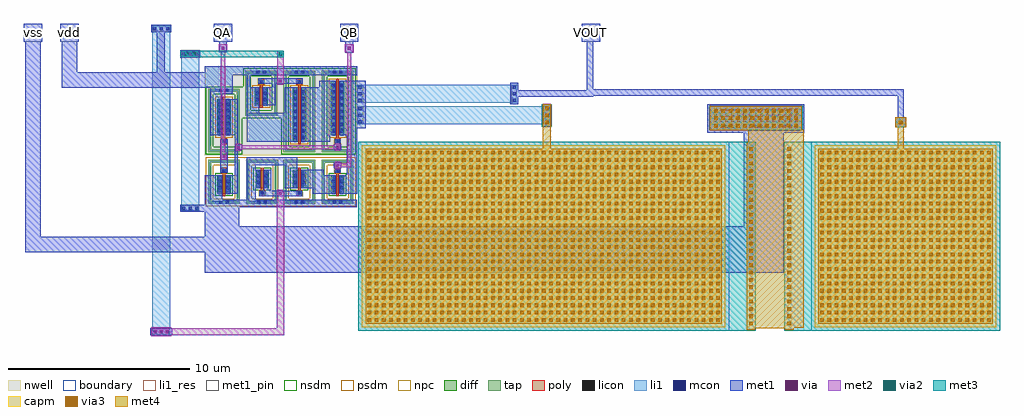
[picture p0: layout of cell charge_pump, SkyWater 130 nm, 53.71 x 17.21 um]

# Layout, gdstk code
from math import pi, radians
import gdstk
lib = gdstk.Library(unit=1e-6, precision=1e-09)
def R(c, l, rs):  # rectangles x0, y0, x1, y1
    for r in rs: c.add(gdstk.rectangle(r[:2], r[2:], *l))
def A(c, l, x, y, w, h, nx, ny, dx, dy):  # array of equal rectangles
    R(c, l, [(x+i*dx, y+j*dy, x+i*dx+w, y+j*dy+h) for i in range(nx) for j in range(ny)])
nwell = (64, 20)
diff = (65, 20)
tap = (65, 44)
poly = (66, 20)
licon = (66, 44)
li1_res = (67, 13)
li1 = (67, 20)
mcon = (67, 44)
met1_pin = (68, 16)
met1 = (68, 20)
via = (68, 44)
met2 = (69, 20)
via2 = (69, 44)
met3 = (70, 20)
via3 = (70, 44)
met4 = (71, 20)
capm = (89, 44)
nsdm = (93, 44)
psdm = (94, 20)
npc = (95, 20)
boundary = (235, 4)

sky130_fd_pr__nfet_01v8_ = lib.new_cell('sky130_fd_pr__nfet_01v8_5WP7M2')
R(sky130_fd_pr__nfet_01v8_, diff, [(-0.365,-0.345,0.365,0.655)])
R(sky130_fd_pr__nfet_01v8_, tap, [(-0.875,-1.215,0.875,-1.045), (-0.875,-1.045,-0.705,1.045), (0.705,-1.045,0.875,1.045), (-0.875,1.045,0.875,1.215)])
R(sky130_fd_pr__nfet_01v8_, poly, [(-0.165,-0.785,0.165,-0.455), (-0.075,-0.455,0.075,0.785)])
A(sky130_fd_pr__nfet_01v8_, licon, -0.305, -0.27, 0.17, 0.17, 1, 3, 0, 0.34)
A(sky130_fd_pr__nfet_01v8_, licon, 0.135, -0.27, 0.17, 0.17, 1, 3, 0, 0.34)
R(sky130_fd_pr__nfet_01v8_, licon, [(-0.255,-1.215,-0.085,-1.045), (0.085,-1.215,0.255,-1.045), (-0.085,-0.705,0.085,-0.535)])
R(sky130_fd_pr__nfet_01v8_, li1, [(-0.475,-1.215,0.475,-1.045), (-0.165,-0.705,0.165,-0.535), (-0.305,-0.365,-0.135,0.675), (0.135,-0.365,0.305,0.675)])
R(sky130_fd_pr__nfet_01v8_, mcon, [(-0.085,-0.705,0.085,-0.535), (-0.305,-0.11,-0.135,0.06), (0.135,-0.11,0.305,0.06), (-0.305,0.25,-0.135,0.42), (0.135,0.25,0.305,0.42)])
R(sky130_fd_pr__nfet_01v8_, met1, [(-0.145,-0.735,0.145,-0.505), (-0.335,-0.345,-0.105,0.655), (0.105,-0.345,0.335,0.655)])
R(sky130_fd_pr__nfet_01v8_, nsdm, [(-0.49,-0.47,0.49,0.78)])
R(sky130_fd_pr__nfet_01v8_, psdm, [(-1,-1.34,1,-0.92), (-1,-0.92,-0.58,0.92), (0.58,-0.92,1,0.92), (-1,0.92,1,1.34)])
R(sky130_fd_pr__nfet_01v8_, npc, [(-0.185,-0.805,0.185,-0.435)])
R(sky130_fd_pr__nfet_01v8_, boundary, [(-0.79,-1.13,0.79,1.13)])

sky130_fd_pr__pfet_01v8_ = lib.new_cell('sky130_fd_pr__pfet_01v8_NKK3FE')
R(sky130_fd_pr__pfet_01v8_, nwell, [(-1.055,-1.42,1.055,1.42)])
R(sky130_fd_pr__pfet_01v8_, diff, [(-0.365,-0.68,0.365,0.32)])
R(sky130_fd_pr__pfet_01v8_, tap, [(-0.875,-1.24,0.875,-1.07), (-0.875,-1.07,-0.705,1.07), (0.705,-1.07,0.875,1.07), (-0.875,1.07,0.875,1.24)])
R(sky130_fd_pr__pfet_01v8_, poly, [(-0.075,-0.81,0.075,0.475), (-0.165,0.475,0.165,0.805)])
A(sky130_fd_pr__pfet_01v8_, licon, -0.305, -0.605, 0.17, 0.17, 1, 3, 0, 0.34)
A(sky130_fd_pr__pfet_01v8_, licon, 0.135, -0.605, 0.17, 0.17, 1, 3, 0, 0.34)
R(sky130_fd_pr__pfet_01v8_, licon, [(-0.085,0.555,0.085,0.725), (-0.255,1.07,-0.085,1.24), (0.085,1.07,0.255,1.24)])
R(sky130_fd_pr__pfet_01v8_, li1, [(-0.305,-0.7,-0.135,0.34), (0.135,-0.7,0.305,0.34), (-0.165,0.555,0.165,0.725), (-0.475,1.07,0.475,1.24)])
R(sky130_fd_pr__pfet_01v8_, mcon, [(-0.305,-0.445,-0.135,-0.275), (0.135,-0.445,0.305,-0.275), (-0.305,-0.085,-0.135,0.085), (0.135,-0.085,0.305,0.085), (-0.085,0.555,0.085,0.725)])
R(sky130_fd_pr__pfet_01v8_, met1, [(-0.335,-0.68,-0.105,0.32), (0.105,-0.68,0.335,0.32), (-0.145,0.525,0.145,0.755)])
R(sky130_fd_pr__pfet_01v8_, nsdm, [(-1,-1.365,1,-0.945), (-1,-0.945,-0.58,0.945), (0.58,-0.945,1,0.945), (-1,0.945,1,1.365)])
R(sky130_fd_pr__pfet_01v8_, psdm, [(-0.49,-0.805,0.49,0.445)])
R(sky130_fd_pr__pfet_01v8_, npc, [(-0.185,0.455,0.185,0.825)])
R(sky130_fd_pr__pfet_01v8_, boundary, [(-0.79,-1.155,0.79,1.155)])

c_sky130_fd_pr__pfet_01v8_ = lib.new_cell('sky130_fd_pr__pfet_01v8_7P3MHC')
R(c_sky130_fd_pr__pfet_01v8_, nwell, [(-1.055,-1.92,1.055,1.92)])
R(c_sky130_fd_pr__pfet_01v8_, diff, [(-0.365,-0.82,0.365,1.18)])
R(c_sky130_fd_pr__pfet_01v8_, tap, [(-0.875,-1.74,0.875,-1.57), (-0.875,-1.57,-0.705,1.57), (0.705,-1.57,0.875,1.57), (-0.875,1.57,0.875,1.74)])
R(c_sky130_fd_pr__pfet_01v8_, poly, [(-0.165,-1.305,0.165,-0.975), (-0.075,-0.975,0.075,1.31)])
A(c_sky130_fd_pr__pfet_01v8_, licon, -0.305, -0.755, 0.17, 0.17, 1, 6, 0, 0.34)
A(c_sky130_fd_pr__pfet_01v8_, licon, 0.135, -0.755, 0.17, 0.17, 1, 6, 0, 0.34)
R(c_sky130_fd_pr__pfet_01v8_, licon, [(-0.085,-1.225,0.085,-1.055), (-0.255,1.57,-0.085,1.74), (0.085,1.57,0.255,1.74)])
R(c_sky130_fd_pr__pfet_01v8_, li1, [(-0.165,-1.225,0.165,-1.055), (-0.305,-0.84,-0.135,1.2), (0.135,-0.84,0.305,1.2), (-0.475,1.57,0.475,1.74)])
A(c_sky130_fd_pr__pfet_01v8_, mcon, -0.305, -0.625, 0.17, 0.17, 1, 5, 0, 0.36)
A(c_sky130_fd_pr__pfet_01v8_, mcon, 0.135, -0.625, 0.17, 0.17, 1, 5, 0, 0.36)
R(c_sky130_fd_pr__pfet_01v8_, mcon, [(-0.085,-1.225,0.085,-1.055)])
R(c_sky130_fd_pr__pfet_01v8_, met1, [(-0.145,-1.255,0.145,-1.025), (-0.335,-0.82,-0.105,1.18), (0.105,-0.82,0.335,1.18)])
R(c_sky130_fd_pr__pfet_01v8_, nsdm, [(-1,-1.865,1,-1.445), (-1,-1.445,-0.58,1.445), (0.58,-1.445,1,1.445), (-1,1.445,1,1.865)])
R(c_sky130_fd_pr__pfet_01v8_, psdm, [(-0.49,-0.945,0.49,1.305)])
R(c_sky130_fd_pr__pfet_01v8_, npc, [(-0.185,-1.325,0.185,-0.955)])
R(c_sky130_fd_pr__pfet_01v8_, boundary, [(-0.79,-1.655,0.79,1.655)])

c_sky130_fd_pr__nfet_01v8_ = lib.new_cell('sky130_fd_pr__nfet_01v8_BXYDM4')
R(c_sky130_fd_pr__nfet_01v8_, diff, [(-0.365,-0.655,0.365,0.345)])
R(c_sky130_fd_pr__nfet_01v8_, tap, [(-0.875,-1.215,0.875,-1.045), (-0.875,-1.045,-0.705,1.045), (0.705,-1.045,0.875,1.045), (-0.875,1.045,0.875,1.215)])
R(c_sky130_fd_pr__nfet_01v8_, poly, [(-0.075,-0.785,0.075,0.455), (-0.165,0.455,0.165,0.785)])
A(c_sky130_fd_pr__nfet_01v8_, licon, -0.305, -0.58, 0.17, 0.17, 1, 3, 0, 0.34)
A(c_sky130_fd_pr__nfet_01v8_, licon, 0.135, -0.58, 0.17, 0.17, 1, 3, 0, 0.34)
R(c_sky130_fd_pr__nfet_01v8_, licon, [(-0.255,-1.215,-0.085,-1.045), (0.085,-1.215,0.255,-1.045), (-0.085,0.535,0.085,0.705)])
R(c_sky130_fd_pr__nfet_01v8_, li1, [(-0.475,-1.215,0.475,-1.045), (-0.305,-0.675,-0.135,0.365), (0.135,-0.675,0.305,0.365), (-0.165,0.535,0.165,0.705)])
R(c_sky130_fd_pr__nfet_01v8_, mcon, [(-0.305,-0.42,-0.135,-0.25), (0.135,-0.42,0.305,-0.25), (-0.305,-0.06,-0.135,0.11), (0.135,-0.06,0.305,0.11), (-0.085,0.535,0.085,0.705)])
R(c_sky130_fd_pr__nfet_01v8_, met1, [(-0.335,-0.655,-0.105,0.345), (0.105,-0.655,0.335,0.345), (-0.145,0.505,0.145,0.735)])
R(c_sky130_fd_pr__nfet_01v8_, nsdm, [(-0.49,-0.78,0.49,0.47)])
R(c_sky130_fd_pr__nfet_01v8_, psdm, [(-1,-1.34,1,-0.92), (-1,-0.92,-0.58,0.92), (0.58,-0.92,1,0.92), (-1,0.92,1,1.34)])
R(c_sky130_fd_pr__nfet_01v8_, npc, [(-0.185,0.435,0.185,0.805)])
R(c_sky130_fd_pr__nfet_01v8_, boundary, [(-0.79,-1.13,0.79,1.13)])

c_sky130_fd_pr__pfet_01v8__ = lib.new_cell('sky130_fd_pr__pfet_01v8_GPKNM8')
R(c_sky130_fd_pr__pfet_01v8__, nwell, [(-1.055,-2.42,1.055,2.42)])
R(c_sky130_fd_pr__pfet_01v8__, diff, [(-0.365,-1.32,0.365,1.68)])
R(c_sky130_fd_pr__pfet_01v8__, tap, [(-0.875,-2.24,0.875,-2.07), (-0.875,-2.07,-0.705,2.07), (0.705,-2.07,0.875,2.07), (-0.875,2.07,0.875,2.24)])
R(c_sky130_fd_pr__pfet_01v8__, poly, [(-0.165,-1.805,0.165,-1.475), (-0.075,-1.475,0.075,1.81)])
A(c_sky130_fd_pr__pfet_01v8__, licon, -0.305, -1.095, 0.17, 0.17, 1, 8, 0, 0.34)
A(c_sky130_fd_pr__pfet_01v8__, licon, 0.135, -1.095, 0.17, 0.17, 1, 8, 0, 0.34)
R(c_sky130_fd_pr__pfet_01v8__, licon, [(-0.085,-1.725,0.085,-1.555), (-0.255,2.07,-0.085,2.24), (0.085,2.07,0.255,2.24)])
R(c_sky130_fd_pr__pfet_01v8__, li1, [(-0.165,-1.725,0.165,-1.555), (-0.305,-1.34,-0.135,1.7), (0.135,-1.34,0.305,1.7), (-0.475,2.07,0.475,2.24)])
A(c_sky130_fd_pr__pfet_01v8__, mcon, -0.305, -1.165, 0.17, 0.17, 1, 8, 0, 0.36)
A(c_sky130_fd_pr__pfet_01v8__, mcon, 0.135, -1.165, 0.17, 0.17, 1, 8, 0, 0.36)
R(c_sky130_fd_pr__pfet_01v8__, mcon, [(-0.085,-1.725,0.085,-1.555)])
R(c_sky130_fd_pr__pfet_01v8__, met1, [(-0.145,-1.755,0.145,-1.525), (-0.335,-1.32,-0.105,1.68), (0.105,-1.32,0.335,1.68)])
R(c_sky130_fd_pr__pfet_01v8__, nsdm, [(-1,-2.365,1,-1.945), (-1,-1.945,-0.58,1.945), (0.58,-1.945,1,1.945), (-1,1.945,1,2.365)])
R(c_sky130_fd_pr__pfet_01v8__, psdm, [(-0.49,-1.445,0.49,1.805)])
R(c_sky130_fd_pr__pfet_01v8__, npc, [(-0.185,-1.825,0.185,-1.455)])
R(c_sky130_fd_pr__pfet_01v8__, boundary, [(-0.79,-2.155,0.79,2.155)])

sky130_fd_pr__cap_mim_m3 = lib.new_cell('sky130_fd_pr__cap_mim_m3_1_TNHPNJ')
R(sky130_fd_pr__cap_mim_m3, met3, [(-10.93,-5.2,10.93,5.2)])
A(sky130_fd_pr__cap_mim_m3, via3, 10.57, -4.9, 0.2, 0.2, 1, 25, 0, 0.4)
A(sky130_fd_pr__cap_mim_m3, via3, -10.43, -4.7, 0.2, 0.2, 49, 24, 0.4, 0.4)
R(sky130_fd_pr__cap_mim_m3, met4, [(10.43,-5.14,10.91,5.14), (-10.535,-4.805,9.075,4.805)])
R(sky130_fd_pr__cap_mim_m3, capm, [(-10.73,-5,9.27,5)])
R(sky130_fd_pr__cap_mim_m3, boundary, [(-10.93,-5.2,9.47,5.2)])

c_sky130_fd_pr__cap_mim_m3 = lib.new_cell('sky130_fd_pr__cap_mim_m3_1_4PHTN9')
R(c_sky130_fd_pr__cap_mim_m3, met3, [(-5.93,-5.2,5.93,5.2)])
A(c_sky130_fd_pr__cap_mim_m3, via3, 5.57, -4.9, 0.2, 0.2, 1, 25, 0, 0.4)
A(c_sky130_fd_pr__cap_mim_m3, via3, -5.43, -4.7, 0.2, 0.2, 24, 24, 0.4, 0.4)
R(c_sky130_fd_pr__cap_mim_m3, met4, [(5.43,-5.14,5.91,5.14), (-5.535,-4.805,4.075,4.805)])
R(c_sky130_fd_pr__cap_mim_m3, capm, [(-5.73,-5,4.27,5)])
R(c_sky130_fd_pr__cap_mim_m3, boundary, [(-5.93,-5.2,4.47,5.2)])

sky130_fd_pr__res_generi = lib.new_cell('sky130_fd_pr__res_generic_l1_3AQK6Q')
R(sky130_fd_pr__res_generi, li1_res, [(-0.5,-4.1,0.5,4.1)])
R(sky130_fd_pr__res_generi, li1, [(-0.5,-4.385,0.5,4.385)])

c_sky130_fd_pr__pfet_01v8___ = lib.new_cell('sky130_fd_pr__pfet_01v8_NKKNMA')
R(c_sky130_fd_pr__pfet_01v8___, nwell, [(-1.055,-2.42,1.055,2.42)])
R(c_sky130_fd_pr__pfet_01v8___, diff, [(-0.365,-1.68,0.365,1.32)])
R(c_sky130_fd_pr__pfet_01v8___, tap, [(-0.875,-2.24,0.875,-2.07), (-0.875,-2.07,-0.705,2.07), (0.705,-2.07,0.875,2.07), (-0.875,2.07,0.875,2.24)])
R(c_sky130_fd_pr__pfet_01v8___, poly, [(-0.075,-1.81,0.075,1.475), (-0.165,1.475,0.165,1.805)])
A(c_sky130_fd_pr__pfet_01v8___, licon, -0.305, -1.455, 0.17, 0.17, 1, 8, 0, 0.34)
A(c_sky130_fd_pr__pfet_01v8___, licon, 0.135, -1.455, 0.17, 0.17, 1, 8, 0, 0.34)
R(c_sky130_fd_pr__pfet_01v8___, licon, [(-0.085,1.555,0.085,1.725), (-0.255,2.07,-0.085,2.24), (0.085,2.07,0.255,2.24)])
R(c_sky130_fd_pr__pfet_01v8___, li1, [(-0.305,-1.7,-0.135,1.34), (0.135,-1.7,0.305,1.34), (-0.165,1.555,0.165,1.725), (-0.475,2.07,0.475,2.24)])
A(c_sky130_fd_pr__pfet_01v8___, mcon, -0.305, -1.525, 0.17, 0.17, 1, 8, 0, 0.36)
A(c_sky130_fd_pr__pfet_01v8___, mcon, 0.135, -1.525, 0.17, 0.17, 1, 8, 0, 0.36)
R(c_sky130_fd_pr__pfet_01v8___, mcon, [(-0.085,1.555,0.085,1.725)])
R(c_sky130_fd_pr__pfet_01v8___, met1, [(-0.335,-1.68,-0.105,1.32), (0.105,-1.68,0.335,1.32), (-0.145,1.525,0.145,1.755)])
R(c_sky130_fd_pr__pfet_01v8___, nsdm, [(-1,-2.365,1,-1.945), (-1,-1.945,-0.58,1.945), (0.58,-1.945,1,1.945), (-1,1.945,1,2.365)])
R(c_sky130_fd_pr__pfet_01v8___, psdm, [(-0.49,-1.805,0.49,1.445)])
R(c_sky130_fd_pr__pfet_01v8___, npc, [(-0.185,1.455,0.185,1.825)])
R(c_sky130_fd_pr__pfet_01v8___, boundary, [(-0.79,-2.155,0.79,2.155)])

c_sky130_fd_pr__res_generi = lib.new_cell('sky130_fd_pr__res_generic_l1_3BGJFP')
R(c_sky130_fd_pr__res_generi, li1_res, [(-0.5,-8.2,0.5,8.2)])
R(c_sky130_fd_pr__res_generi, li1, [(-0.5,-8.485,0.5,8.485)])

c_sky130_fd_pr__res_generi_ = lib.new_cell('sky130_fd_pr__res_generic_l1_XY2C22')
R(c_sky130_fd_pr__res_generi_, li1_res, [(-0.5,-5,0.5,5)])
R(c_sky130_fd_pr__res_generi_, li1, [(-0.5,-5.285,0.5,5.285)])

charge_pump = lib.new_cell('charge_pump')
R(charge_pump, nwell, [(19.2,2.9,27.6,7.8)])
A(charge_pump, li1, 21.91, 7.39, 0.79, 0.17, 3, 1, 2.1, 0)
R(charge_pump, li1, [(16.3,-6.95,17.3,-6.665), (17.9,-0.15,18.9,0.135), (19.86,0.23,20.65,0.4), (21.96,0.23,22.75,0.4), (24.01,0.23,24.8,0.4), (26.11,0.23,26.9,0.4), (27.6,4.6,27.885,5.6), (37.885,4.6,38.17,5.6), (27.6,5.8,27.885,6.8), (36.085,5.8,36.37,6.8), (19.86,6.39,20.65,6.56), (17.9,8.335,18.9,8.62), (16.3,9.735,17.3,10.02)])
A(charge_pump, mcon, 16.355, -6.895, 0.17, 0.17, 3, 2, 0.36, 16.685)
A(charge_pump, mcon, 17.955, -0.095, 0.17, 0.17, 3, 2, 0.36, 8.485)
A(charge_pump, mcon, 27.655, 4.655, 0.17, 0.17, 1, 3, 0, 0.36)
A(charge_pump, mcon, 37.94, 4.655, 0.17, 0.17, 1, 3, 0, 0.36)
A(charge_pump, mcon, 27.655, 5.855, 0.17, 0.17, 1, 3, 0, 0.36)
A(charge_pump, mcon, 36.14, 5.855, 0.17, 0.17, 1, 3, 0, 0.36)
R(charge_pump, mcon, [(19.99,0.23,20.16,0.4), (20.35,0.23,20.52,0.4), (22.09,0.23,22.26,0.4), (22.45,0.23,22.62,0.4), (24.14,0.23,24.31,0.4), (24.5,0.23,24.67,0.4), (26.24,0.23,26.41,0.4), (26.6,0.23,26.77,0.4), (19.99,6.39,20.16,6.56), (20.35,6.39,20.52,6.56), (22.04,7.39,22.21,7.56), (22.4,7.39,22.57,7.56), (24.14,7.39,24.31,7.56), (24.5,7.39,24.67,7.56), (26.24,7.39,26.41,7.56), (26.6,7.39,26.77,7.56)])
R(charge_pump, met1_pin, [(9.25,9.15,10.25,10.15), (11.25,9.15,12.25,10.15), (19.7,9.15,20.7,10.15), (26.65,9.15,27.65,10.15), (39.95,9.15,40.95,10.15)])
R(charge_pump, met1, [(16.19,-7.01,17.41,-6.605), (19.2,-3.55,51.05,-2.42), (9.33,-2.42,51.05,-1.58), (9.33,-1.58,10.17,9.15), (19.2,-1.58,51.05,-1), (19.2,-1,21.1,-0.21), (48.85,-1,51.05,4.15), (17.84,-0.21,21.1,0.05), (17.84,0.05,27.55,0.195), (19.2,0.195,27.55,0.45), (19.2,0.45,20.15,1.8), (21.5,0.45,22,1.1), (22.2,0.65,24.55,0.95), (20.35,0.8,21,1.8), (25.15,0.8,26.4,1.1), (26.6,0.8,27.6,1.8), (22.45,0.95,22.85,2.1), (21.5,1.1,22.25,2.1), (23.6,1.1,24.3,2.35), (24.5,1.1,26.4,1.8), (20.85,1.8,21,3.2), (24.5,1.8,25.75,2.1), (27,1.8,27.6,4), (20.05,1.95,20.45,3.8), (26.35,1.95,26.65,2.2), (21.5,2.1,22,2.35), (26.3,2.2,26.7,2.5), (21.5,2.35,24.3,2.8), (20.85,3.2,21.25,3.5), (26.3,3.2,26.7,3.5), (20.85,3.5,21,4), (26.35,3.5,26.65,3.8), (21.5,3.65,24.3,5.25), (24.5,3.65,26.1,4), (19.5,4,20.15,6.3), (20.35,4,21,6), (24.5,4,26.4,6.65), (26.6,4,27.6,4.4), (46.85,4.15,52.2,5.7), (26.6,4.4,28.05,7), (57.2,4.45,57.8,5), (37.75,4.5,38.3,5.7), (57.32,5,57.675,6.18), (21.5,5.25,22.2,6.65), (23.6,5.25,24.3,6.65), (22.4,5.65,23.1,6.65), (36,5.7,36.45,6.125), (36,6.125,40.575,6.18), (36,6.18,57.675,6.48), (19.5,6.3,20.75,6.62), (36,6.48,36.45,6.9), (40.22,6.48,57.675,6.535), (40.22,6.535,40.575,9.15), (11.32,6.62,20.75,7.3), (21.5,6.65,21.7,7.3), (22.9,6.65,23.1,6.85), (25.5,6.65,26.4,7), (22.15,6.85,24.6,7.15), (11.32,7.3,27.6,7.485), (11.32,7.485,12.185,9.15), (16.56,7.485,16.985,9.67), (19.2,7.485,27.6,7.8), (17.84,8.275,18.96,8.68), (26.935,8.555,27.365,9.15), (20,8.57,20.405,9.15), (9.25,9.15,10.25,10.15), (11.25,9.15,12.25,10.15), (19.7,9.15,20.7,10.15), (26.65,9.15,27.65,10.15), (39.95,9.15,40.95,10.15), (16.24,9.67,17.355,10.08)])
A(charge_pump, via, 16.405, -6.885, 0.15, 0.15, 3, 1, 0.32, 0)
A(charge_pump, via, 47.21, 4.395, 0.15, 0.15, 15, 4, 0.32, 0.32)
A(charge_pump, via, 37.95, 4.705, 0.15, 0.15, 1, 3, 0, 0.32)
A(charge_pump, via, 18.005, 8.4, 0.15, 0.15, 3, 1, 0.32, 0)
R(charge_pump, via, [(23.275,0.725,23.425,0.875), (26.425,2.275,26.575,2.425), (20.175,2.775,20.325,2.925), (20.975,3.275,21.125,3.425), (26.425,3.275,26.575,3.425), (57.42,4.625,57.57,4.775), (23.275,6.925,23.425,7.075), (20.125,8.725,20.275,8.875), (27.075,8.725,27.225,8.875)])
R(charge_pump, met2, [(16.24,-7.06,17.36,-7.01), (16.24,-7.01,23.58,-6.6), (16.24,-6.6,17.36,-6.555), (23.17,-6.6,23.58,0.86), (23.2,0.86,23.5,1), (26.35,2.15,26.65,2.24), (26.35,2.24,27.265,2.465), (26.35,2.465,26.65,2.55), (27.04,2.465,27.265,8.585), (20.1,2.65,20.4,2.68), (20.08,2.68,20.4,3.05), (20.08,3.05,20.325,8.6), (20.9,3.15,21.2,3.25), (26.35,3.15,26.65,3.25), (20.9,3.25,26.65,3.45), (20.9,3.45,21.2,3.55), (26.35,3.45,26.65,3.55), (47,4.25,52.05,5.65), (37.8,4.45,38.25,5.75), (57.2,4.45,57.8,5), (23.2,6.8,23.5,6.815), (23.19,6.815,23.54,8.645), (17.9,8.285,18.9,8.67), (26.905,8.585,27.395,9.015), (19.97,8.6,20.435,9.005), (23.215,8.645,23.515,8.665)])
A(charge_pump, via2, 47.225, 4.45, 0.2, 0.2, 12, 3, 0.4, 0.4)
A(charge_pump, via2, 37.925, 4.6, 0.2, 0.2, 1, 3, 0, 0.4)
R(charge_pump, via2, [(57.395,4.6,57.595,4.8), (23.265,8.37,23.465,8.57), (18.1,8.375,18.3,8.575), (18.5,8.375,18.7,8.575)])
R(charge_pump, met3, [(46.95,4.275,52.1,5.625), (57.2,4.45,57.8,5), (37.75,4.475,38.3,5.725), (18.75,8.295,23.54,8.31), (17.85,8.31,23.54,8.645)])
A(charge_pump, via3, 47.225, 4.45, 0.2, 0.2, 12, 3, 0.4, 0.4)
A(charge_pump, via3, 37.925, 4.6, 0.2, 0.2, 1, 3, 0, 0.4)
R(charge_pump, via3, [(57.395,4.6,57.595,4.8)])
R(charge_pump, met4, [(49.1,-6.6,51.6,-6.59), (49.1,-6.59,52.17,4.295), (57.32,2.625,57.675,4.45), (37.8,3.2,38.25,4.495), (46.995,4.295,52.17,4.31), (46.995,4.31,52.055,5.605), (57.2,4.45,57.8,5), (37.795,4.495,38.255,5.705)])
R(charge_pump, nsdm, [(25.405,2.955,25.505,7.685), (21.255,4.955,21.305,6.685), (23.305,4.955,23.405,7.685)])
R(charge_pump, psdm, [(21.255,0.105,21.355,2.785), (23.355,0.105,23.405,2.785), (25.405,0.105,25.505,2.785)])
charge_pump.add(gdstk.Reference(sky130_fd_pr__nfet_01v8_, (24.405,1.445)))
charge_pump.add(gdstk.Reference(sky130_fd_pr__pfet_01v8_, (22.305,6.32)))
charge_pump.add(gdstk.Reference(sky130_fd_pr__nfet_01v8_, (22.355,1.445)))
charge_pump.add(gdstk.Reference(c_sky130_fd_pr__pfet_01v8_, (20.255,4.82)))
charge_pump.add(gdstk.Reference(c_sky130_fd_pr__nfet_01v8_, (20.255,1.445)))
charge_pump.add(gdstk.Reference(c_sky130_fd_pr__pfet_01v8__, (26.505,5.32)))
charge_pump.add(gdstk.Reference(sky130_fd_pr__cap_mim_m3, (38.58,-1.55)))
charge_pump.add(gdstk.Reference(c_sky130_fd_pr__cap_mim_m3, (57.03,-1.55), rotation=pi, x_reflection=True))
charge_pump.add(gdstk.Reference(sky130_fd_pr__res_generi, (18.4,4.235), rotation=pi))
charge_pump.add(gdstk.Reference(c_sky130_fd_pr__pfet_01v8___, (24.405,5.32)))
charge_pump.add(gdstk.Reference(c_sky130_fd_pr__nfet_01v8_, (26.505,1.445)))
charge_pump.add(gdstk.Reference(c_sky130_fd_pr__res_generi, (16.8,1.535)))
charge_pump.add(gdstk.Reference(c_sky130_fd_pr__res_generi_, (32.885,5.1), rotation=3*pi/2))
charge_pump.add(gdstk.Reference(sky130_fd_pr__res_generi, (31.985,6.3), rotation=3*pi/2))
charge_pump.add(gdstk.Label('vdd', (11.75,9.65), layer=68, texttype=5))
charge_pump.add(gdstk.Label('vss', (9.75,9.65), layer=68, texttype=5))
charge_pump.add(gdstk.Label('QA', (20.2,9.65), layer=68, texttype=5))
charge_pump.add(gdstk.Label('QB', (27.15,9.65), layer=68, texttype=5))
charge_pump.add(gdstk.Label('VOUT', (40.45,9.65), layer=68, texttype=5))

lib.write_gds('charge_pump.gds')
